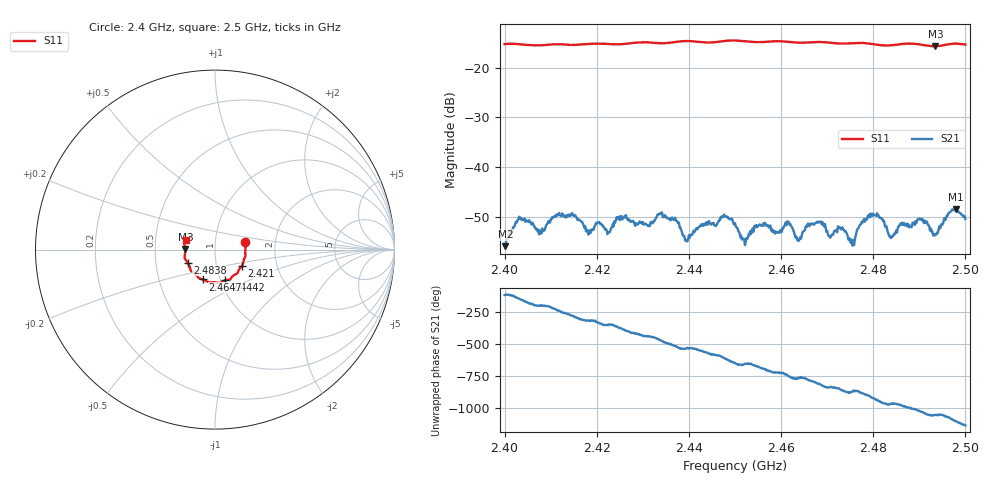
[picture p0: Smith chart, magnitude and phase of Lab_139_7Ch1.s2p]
# Hz S RI R 50
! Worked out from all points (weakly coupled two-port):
!   601 points, 2.4 GHz to 2.5 GHz, reference 50 ohm
!   highest |S21| = -48.53 dB at 2.498 GHz (marker M1); lowest = -56.0 dB at 2.4002 GHz (marker M2)
!   lowest |S11| = -15.6 dB at 2.4935 GHz (marker M3), VSWR 1.40, Z = 35.8 + j0.206 ohm
!   |S11| at or under -10 dB: start of sweep to end of sweep
!   S12 and S22 are empty: the file has one direction only
!   S11 on the Smith chart (normalised r, x): 2.4 GHz: 1.40, +0.12; 2.421 GHz: 1.33, -0.24; 2.4442 GHz: 1.05, -0.37; 2.4647 GHz: 0.83, -0.29; 2.4838 GHz: 0.73, -0.11; 2.5 GHz: 0.72, +0.08
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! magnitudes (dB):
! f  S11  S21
! 2.4 GHz  -15.2  -55.6
! 2.4002 GHz  -15.2  -56.0
! 2.4033 GHz  -15.2  -50.5
! 2.4075 GHz  -15.5  -53.6
! 2.4167 GHz  -15.3  -51.0
! 2.421 GHz  -15.1  -51.5
! 2.4333 GHz  -15.0  -49.5
! 2.4393 GHz  -14.6  -54.7
! 2.4442 GHz  -14.9  -51.4
! 2.45 GHz  -14.5  -51.3
! 2.452 GHz  -14.6  -54.6
! 2.4562 GHz  -14.8  -51.4
! 2.4647 GHz  -14.9  -53.1
! 2.4667 GHz  -14.8  -51.5
! 2.4755 GHz  -15.0  -55.9
! 2.4805 GHz  -15.3  -49.7
! 2.4833 GHz  -15.5  -53.6
! 2.4838 GHz  -15.4  -54.4
! 2.49 GHz  -15.2  -50.4
! 2.4935 GHz  -15.6  -53.6
! 2.498 GHz  -15.1  -48.5
! 2.5 GHz  -15.3  -50.5
